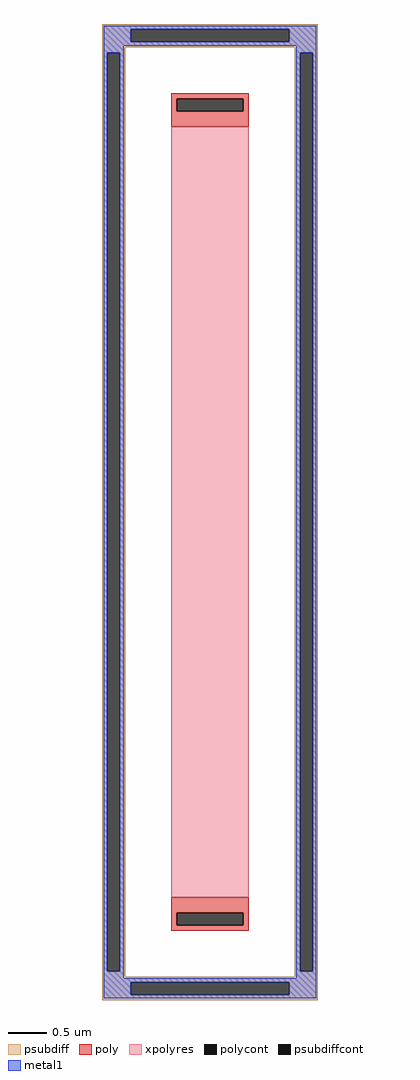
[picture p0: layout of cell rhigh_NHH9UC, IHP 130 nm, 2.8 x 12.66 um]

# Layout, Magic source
magic
tech ihp-sg13g2
<< psubdiff >>
rect -140 626 140 633
rect -140 610 -103 626
rect 103 610 140 626
rect -140 603 140 610
rect -140 596 -110 603
rect -140 -596 -133 596
rect -117 -596 -110 596
rect 110 596 140 603
rect -140 -603 -110 -596
rect 110 -596 117 596
rect 133 -596 140 596
rect 110 -603 140 -596
rect -140 -610 140 -603
rect -140 -626 -103 -610
rect 103 -626 140 -610
rect -140 -633 140 -626
<< psubdiffcont >>
rect -103 610 103 626
rect -133 -596 -117 596
rect 117 -596 133 596
rect -103 -626 103 -610
<< poly >>
rect -50 536 50 543
rect -50 520 -43 536
rect 43 520 50 536
rect -50 500 50 520
rect -50 -520 50 -500
rect -50 -536 -43 -520
rect 43 -536 50 -520
rect -50 -543 50 -536
<< polycont >>
rect -43 520 43 536
rect -43 -536 43 -520
<< xpolyres >>
rect -50 -500 50 500
<< metal1 >>
rect -138 626 138 631
rect -138 610 -103 626
rect 103 610 138 626
rect -138 605 138 610
rect -138 596 -112 605
rect -138 -596 -133 596
rect -117 -596 -112 596
rect 112 596 138 605
rect -138 -605 -112 -596
rect 112 -596 117 596
rect 133 -596 138 596
rect 112 -605 138 -596
rect -138 -610 138 -605
rect -138 -626 -103 -610
rect 103 -626 138 -610
rect -138 -631 138 -626
<< properties >>
string gencell rhigh
string library sg13g2_devstdin
string parameters w 1 l 10 nx 1 dx 0.18 ny 1 dy 0.18 wmin 0.50 lmin 0.50 class resistor endcov 0 glc 1 grc 1 gtc 1 gbc 1
<< end >>
